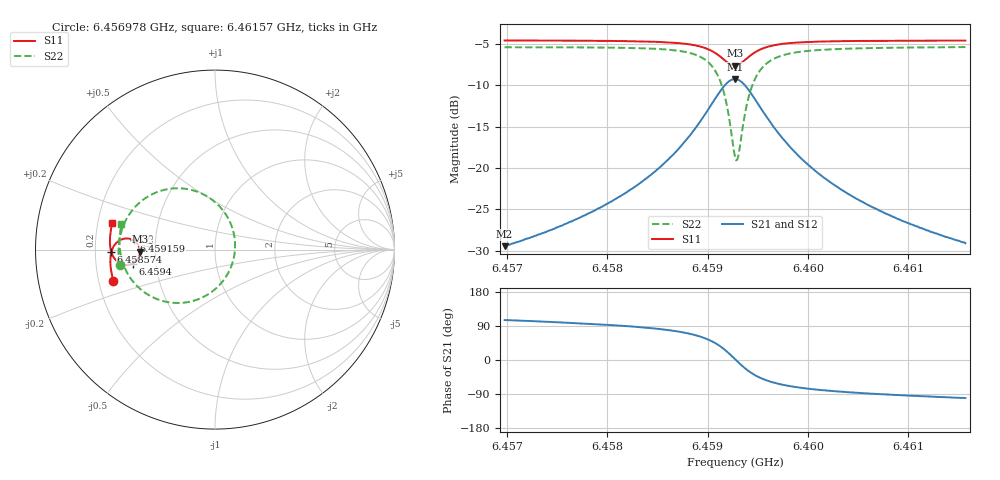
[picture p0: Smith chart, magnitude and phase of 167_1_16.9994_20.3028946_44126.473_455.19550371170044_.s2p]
#  HZ  S  RI  R  50.00
! Rohde & Schwarz Vector Network Analyzer
! Rohde-Schwarz,ZNB20-2Port,1311601062101988,3.16
! Created: UTC 3/20/2024, 10:59:35 PM
! freq[Hz]  re:S11  im:S11  re:S21  im:S21  re:S12  im:S12  re:S22  im:S22
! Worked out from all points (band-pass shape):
!   401 points, 6.456978 GHz to 6.46157 GHz, reference 50 ohm
!   highest |S21| = -9.22 dB at 6.459274 GHz (marker M1); lowest = -29.4 dB at 6.456978 GHz (marker M2)
!   |S21| within 3 dB of the highest: 6.459043 GHz to 6.459503 GHz (460 kHz wide, 0.00712 % of centre)
!   lowest |S11| = -7.6 dB at 6.459274 GHz (marker M3), VSWR 2.43, Z = 20.5 - j0.602 ohm
!   |S11| at or under -10 dB: nowhere
!   |S22| runs from -19.1 to -5.4 dB; largest |S21 - S12| = 0.013
!   S11 on the Smith chart (normalised r, x): 6.456978 GHz: 0.26, -0.14; 6.458574 GHz: 0.27, -0.01; 6.459159 GHz: 0.37, +0.05; 6.4594 GHz: 0.37, -0.07; 6.46157 GHz: 0.26, +0.12
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6.4569779e9  -0.5662 -0.1731  -0.00893 0.0325  -0.00728 0.0325  -0.5317 -0.0863
6.457747e9  -0.5803 -0.106  -0.00572 0.0505  -0.00332 0.0498  -0.5373 0.00373
6.4581833e9  -0.5833 -0.0622  0.000507 0.0707  0.00376 0.0695  -0.5288 0.0733
6.4585161e9  -0.5795 -0.0221  0.014 0.099  0.0179 0.0964  -0.504 0.149
6.4585735e9  -0.5777 -0.0143  0.0184 0.1059  0.0224 0.1029  -0.4959 0.1656
6.4587802e9  -0.5647 0.0179  0.046 0.1385  0.0501 0.1338  -0.4443 0.2387
6.4589294e9  -0.5418 0.0443  0.0916 0.1693  0.0947 0.1626  -0.3606 0.3033
6.4590672e9  -0.4977 0.0618  0.1792 0.1857  0.1801 0.1784  -0.2007 0.3417
6.459159e9  -0.453 0.0512  0.2693 0.1539  0.2696 0.1481  -0.034 0.2904
6.4592279e9  -0.424 0.0189  0.3296 0.0816  0.3317 0.0763  0.0808 0.1601
6.4592738e9  -0.4174 -0.0121  0.3455 0.0139  0.3491 0.00697  0.1119 0.034
6.4592853e9  -0.4179 -0.0201  0.3452 -0.00394  0.349 -0.0115  0.1114 0.000339
6.4593082e9  -0.4215 -0.0358  0.3395 -0.0386  0.3433 -0.0475  0.1001 -0.0651
6.4593541e9  -0.4372 -0.0618  0.3107 -0.0982  0.3131 -0.1099  0.0424 -0.1777
6.4594001e9  -0.4593 -0.0781  0.2688 -0.139  0.268 -0.1521  -0.0426 -0.2517
6.4594919e9  -0.5025 -0.0848  0.1842 -0.1699  0.1782 -0.1814  -0.2105 -0.2976
6.4596411e9  -0.5463 -0.0645  0.0968 -0.1562  0.0882 -0.1624  -0.3774 -0.2485
6.4598018e9  -0.568 -0.0368  0.0518 -0.1286  0.0443 -0.1313  -0.4578 -0.177
6.4600429e9  -0.5809 -0.00135  0.0227 -0.0972  0.0168 -0.0977  -0.5058 -0.095
6.4603873e9  -0.5855 0.0396  0.00648 -0.0703  0.00245 -0.0699  -0.5276 -0.016
6.460812e9  -0.5838 0.0823  -0.00128 -0.052  -0.00414 -0.051  -0.532 0.0519
6.4615696e9  -0.5719 0.1495  -0.00636 -0.0345  -0.00803 -0.0338  -0.5212 0.1415
